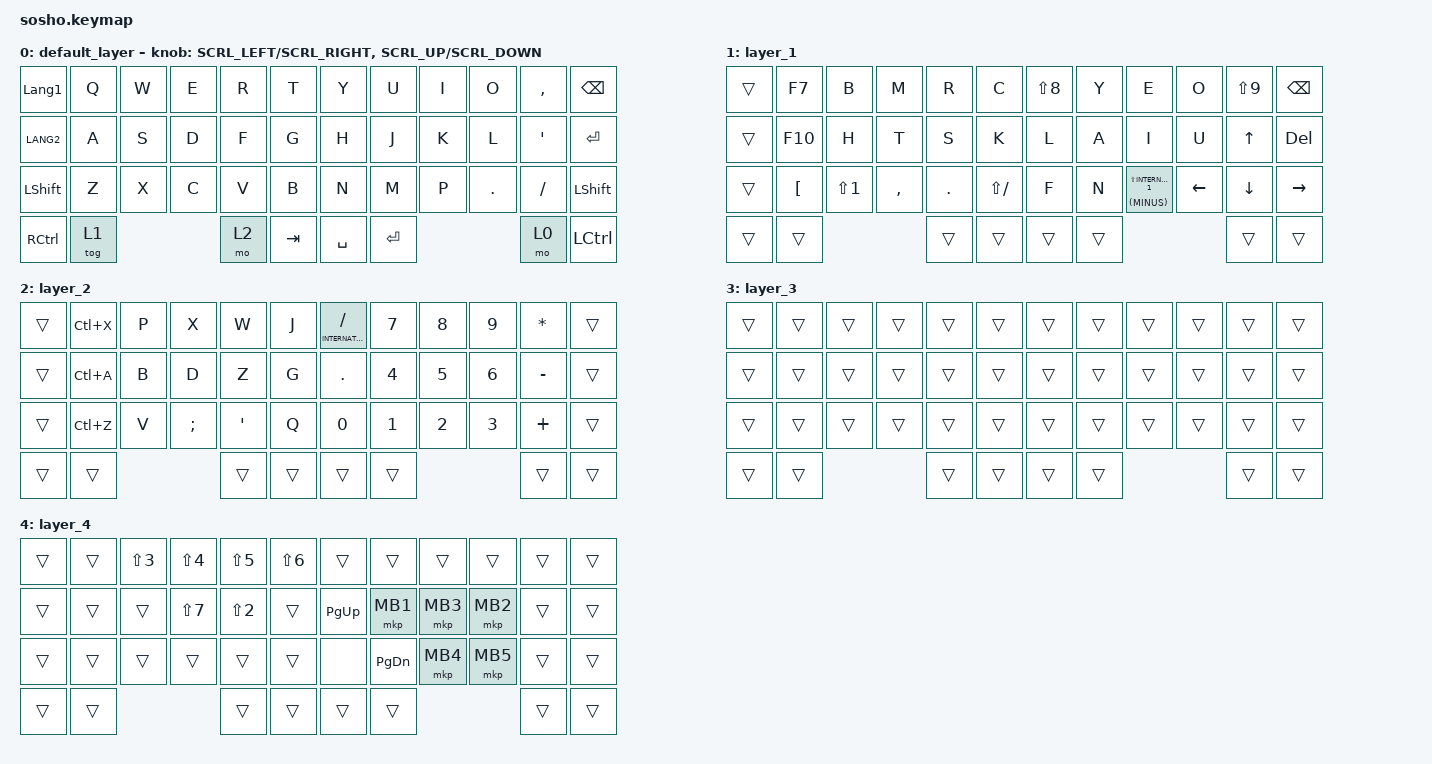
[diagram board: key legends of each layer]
//スクロール量の調整(デフォルト150)

#define ZMK_POINTING_DEFAULT_SCRL_VAL 150

#include <behaviors.dtsi>
#include <dt-bindings/zmk/keys.h>
#include <dt-bindings/zmk/pointing.h>

/ {
    behaviors {
        //エンコーダにスクロールを割り当てるためのビヘイビア

        msc_ec_l: sensor_rotation_scroll_L {
            compatible = "zmk,behavior-sensor-rotate-var";
            #sensor-binding-cells = <2>;
            bindings = <&msc>, <&msc>;

            tap-ms = <20>;
        };

        msc_ec_r: sensor_rotation_scroll_R {
            compatible = "zmk,behavior-sensor-rotate-var";
            #sensor-binding-cells = <2>;
            bindings = <&msc>, <&msc>;

            tap-ms = <20>;
        };
    };
};

//スクロールの調整

&msc {
    time-to-max-speed-ms = <0>;   // 即座に最大速度（加速なし）
    acceleration-exponent = <0>;   // 加速なし
};

/ {
    combos {
        compatible = "zmk,combos";
        prioritize-longer-keys;

        //左クリックのコンボ 19 J 20 K

        cmb_BS {
            timeout-ms = <50>;
            key-positions = <19 20>;
            bindings = <&kp BACKSPACE>;
        };

        //右クリックのコンボ 20 K 21 L

        cmb_DELL {
            timeout-ms = <50>;
            key-positions = <20 21>;
            bindings = <&kp DELETE>;
        };

        //ホイールクリックのコンボ 19 J 21 L
        //作ったけど消した。ポインティングデバイスをスクロールにしたい人向け
        //31 M 32 ,

        cmb_paste {
            bindings = <&kp LC(V)>;
            key-positions = <16 15>;
        };

        cmb_copy {
            bindings = <&kp LC(C)>;
            key-positions = <15 14>;
        };

        cmb_cut {
            bindings = <&kp LC(X)>;
            key-positions = <14 16>;
        };

        cmb_cz {
            bindings = <&kp LC(Z)>;
            key-positions = <25 26>;
        };

        cmb_ca {
            bindings = <&kp LC(A)>;
            key-positions = <13 14>;
        };

        cmb_Lboot {
            bindings = <&bootloader>;
            key-positions = <36 37>;
        };

        cmb_Rboot {
            bindings = <&bootloader>;
            key-positions = <43 42>;
        };

        cmb_cw {
            bindings = <&kp LC(W)>;
            key-positions = <7 8>;
        };

        cmb_lock {
            bindings = <&kp LG(L)>;
            key-positions = <10 11>;
        };

        cmb_lang1 {
            bindings = <&kp LANGUAGE_1>;
            key-positions = <27 28>;
        };

        cmb_lang2 {
            bindings = <&kp LANGUAGE_2>;
            key-positions = <27 26>;
        };

        cmb_tog_l1 {
            bindings = <&tog 1>;
            key-positions = <4 3>;
        };
    };
};

/ {
    macros {
        jap: jap {
            compatible = "zmk,behavior-macro";
            #binding-cells = <0>;
            bindings = <&kp LANGUAGE_1 &to 1>;
            label = "JAP";
        };

        eng: eng {
            compatible = "zmk,behavior-macro";
            #binding-cells = <0>;
            bindings = <&kp LANGUAGE_2 &to 0>;
            label = "ENG";
        };
    };

    keymap {
        compatible = "zmk,keymap";

        default_layer {
            bindings = <
&kp LANGUAGE_1     &kp Q   &kp W  &kp E  &kp R  &kp T    &kp Y      &kp U    &kp I  &kp O    &kp COMMA  &kp BSPC
&kp LANG2          &kp A   &kp S  &kp D  &kp F  &kp G    &kp H      &kp J    &kp K  &kp L    &kp SQT    &kp ENTER
&kp LSHIFT         &kp Z   &kp X  &kp C  &kp V  &kp B    &kp N      &kp M    &kp P  &kp DOT  &kp SLASH  &kp LSHFT
&kp RIGHT_CONTROL  &tog 1                &mo 2  &kp TAB  &kp SPACE  &kp RET                  &mo 0      &kp LEFT_CONTROL
            >;

            //&msc_ec_lとrは、上のビヘイビアで作ったもの。

            sensor-bindings = <&msc_ec_l SCRL_LEFT SCRL_RIGHT &msc_ec_r SCRL_UP SCRL_DOWN>;
        };

        layer_1 {
            bindings = <
&trans  &kp F7            &kp B             &kp M      &kp R       &kp C          &kp LS(N8)  &kp Y   &kp E                            &kp O           &kp LS(NUMBER_9)  &kp BSPC
&trans  &kp F10           &kp H             &kp T      &kp S       &kp K          &kp L       &kp A   &kp I                            &kp U           &kp UP_ARROW      &kp DEL
&trans  &kp LEFT_BRACKET  &kp LS(NUMBER_1)  &kp COMMA  &kp PERIOD  &kp LS(SLASH)  &kp F       &kp N   &mt (MINUS) LS(INTERNATIONAL_1)  &kp LEFT_ARROW  &kp DOWN          &kp RIGHT_ARROW
&trans  &trans                                         &trans      &trans         &trans      &trans                                                   &trans            &trans
            >;
        };

        layer_2 {
            bindings = <
&trans  &kp LC(X)  &kp P  &kp X     &kp W     &kp J   &mt INTERNATIONAL_1 SLASH  &kp N7        &kp N8        &kp N9        &kp ASTERISK  &trans
&trans  &kp LC(A)  &kp B  &kp D     &kp Z     &kp G   &kp PERIOD                 &kp NUMBER_4  &kp N5        &kp NUMBER_6  &kp MINUS     &trans
&trans  &kp LC(Z)  &kp V  &kp SEMI  &kp APOS  &kp Q   &kp N0                     &kp NUMBER_1  &kp NUMBER_2  &kp NUMBER_3  &kp PLUS      &trans
&trans  &trans                      &trans    &trans  &trans                     &trans                                    &trans        &trans
            >;
        };

        layer_3 {
            bindings = <
&trans  &trans  &trans  &trans  &trans  &trans  &trans  &trans  &trans  &trans  &trans  &trans
&trans  &trans  &trans  &trans  &trans  &trans  &trans  &trans  &trans  &trans  &trans  &trans
&trans  &trans  &trans  &trans  &trans  &trans  &trans  &trans  &trans  &trans  &trans  &trans
&trans  &trans                  &trans  &trans  &trans  &trans                  &trans  &trans
            >;
        };

        layer_4 {
            bindings = <
&trans  &trans  &kp LS(NUMBER_3)  &kp LS(NUMBER_4)  &kp LS(N5)        &kp LS(NUMBER_6)  &trans       &trans         &trans    &trans    &trans  &trans
&trans  &trans  &trans            &kp LS(N7)        &kp LS(NUMBER_2)  &trans            &kp PAGE_UP  &mkp MB1       &mkp MB3  &mkp MB2  &trans  &trans
&trans  &trans  &trans            &trans            &trans            &trans            &none        &kp PAGE_DOWN  &mkp MB4  &mkp MB5  &trans  &trans
&trans  &trans                                      &trans            &trans            &trans       &trans                             &trans  &trans
            >;
        };
    };
};
